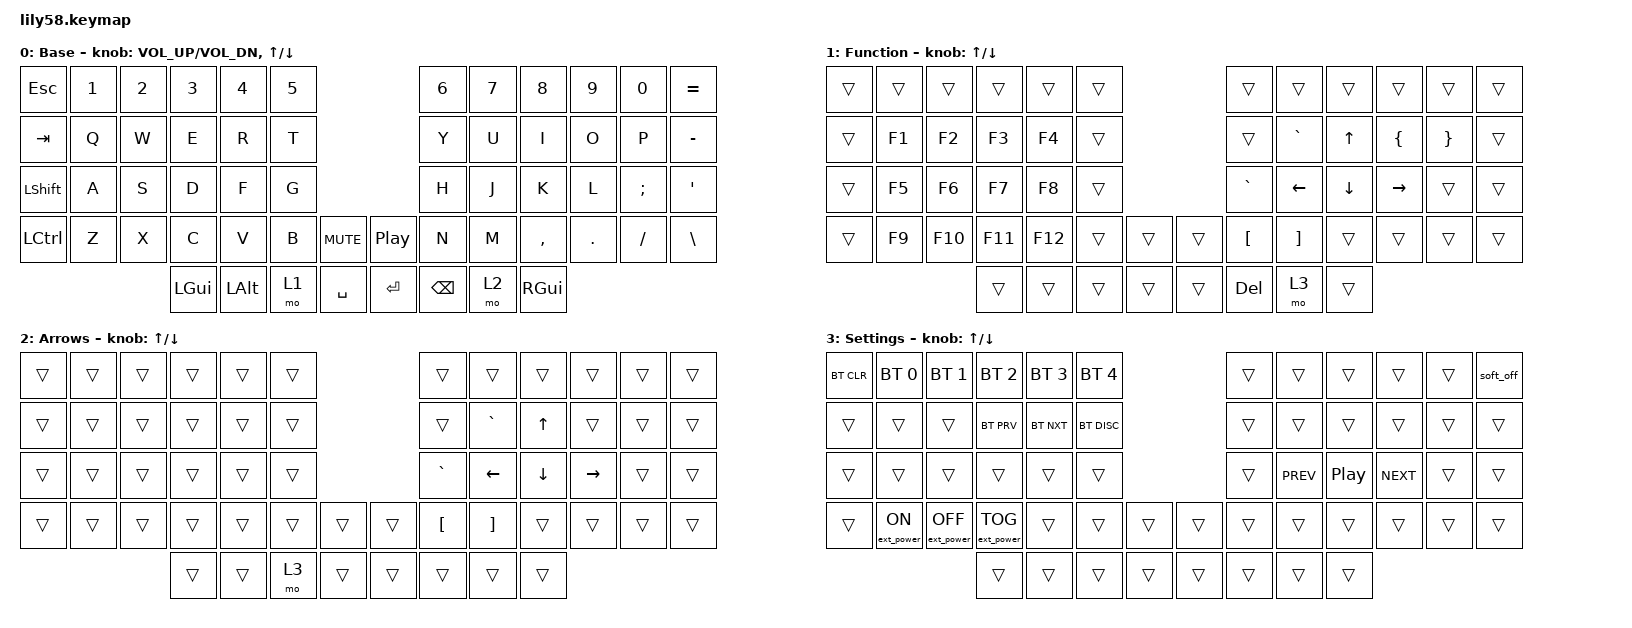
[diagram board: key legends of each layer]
/*
 * Copyright (c) 2020 The ZMK Contributors
 *
 * SPDX-License-Identifier: MIT
 *
 */

#include <behaviors.dtsi>
#include <dt-bindings/zmk/keys.h>
#include <dt-bindings/zmk/bt.h>
#include <dt-bindings/zmk/ext_power.h>

#define BASE   0
#define LOWER  1
#define RAISE  2
#define ADJUST 3

/ {
    keymap {
        compatible = "zmk,keymap";

        default_layer {
// ┌───────────────────────────────────────────────────────────┐
label= "BASE"                                                 ;
display-name = "Base"                                         ;
// └───────────────────────────────────────────────────────────┘
// ------------------------------------------------------------------------------------------------------------
// |  ESC  |  1  |  2  |  3   |  4   |  5   |                   |  6   |  7    |  8    |  9   |   0   |   `   |
// |  TAB  |  Q  |  W  |  E   |  R   |  T   |                   |  Y   |  U    |  I    |  O   |   P   |   -   |
// |  SHIFT|  A  |  S  |  D   |  F   |  G   |                   |  H   |  J    |  K    |  L   |   ;   |   '   |
// |  CTRL |  Z  |  X  |  C   |  V   |  B   |   "["  |  |  "]"  |  N   |  M    |  ,    |  .   |   /   | SHIFT |
//                     |  GUI |  ALT | LOWER|  SPACE |  | ENTER | BSPC | RAISE | GUI   |
            bindings = <
&kp ESC   &kp N1 &kp N2 &kp N3   &kp N4   &kp N5                     &kp N6   &kp N7   &kp N8    &kp N9  &kp N0   &kp EQUAL
&kp TAB   &kp Q  &kp W  &kp E    &kp R    &kp T                      &kp Y    &kp U    &kp I     &kp O   &kp P    &kp MINUS
&kp LSHFT &kp A  &kp S  &kp D    &kp F    &kp G                      &kp H    &kp J    &kp K     &kp L   &kp SEMI &kp SQT
&kp LCTRL &kp Z  &kp X  &kp C    &kp V    &kp B  &kp C_MUTE &kp C_PP &kp N    &kp M    &kp COMMA &kp DOT &kp FSLH &kp BSLH
                        &kp LGUI &kp LALT &mo 1  &kp SPACE  &kp RET  &kp BSPC &mo 2    &kp RGUI
            >;

            sensor-bindings = <&inc_dec_kp C_VOL_UP C_VOL_DN &inc_dec_kp UP DOWN>;
        };

        lower_layer {
// ┌───────────────────────────────────────────────────────────┐
label= "LOWER"                                                 ;
display-name = "Function"                                         ;
// └───────────────────────────────────────────────────────────┘
// ------------------------------------------------------------------------------------------------------------
// |       |     |     |      |      |      |                   |      |       |       |      |       |       |  
// |       |  F1 |  F2 |  F3  |  F4  |      |                   |      |  `~   |  UP   |      |       |       |  
// |       |  F5 |  F6 |  F7  |  F8  |  F9  |                   |  `~  |  LEFT |  DOWN |RIGHT |       |       |
// |       |  F9 | F10 |  F11 | F12  |      |        |  |       |   [  |   ]   |       |      |       |  "|"  |
//                     |      |      |      |        |  |       |      |       |       |
            bindings = <
&trans &trans &trans  &trans  &trans  &trans                       &trans    &trans    &trans      &trans    &trans    &trans
&trans &kp F1 &kp F2  &kp F3  &kp F4  &trans                       &trans    &kp GRAVE  &kp UP     &kp LBRC  &kp RBRC  &trans
&trans &kp F5 &kp F6  &kp F7  &kp F8  &trans                       &kp GRAVE &kp LEFT  &kp DOWN    &kp RIGHT &trans    &trans 
&trans &kp F9 &kp F10 &kp F11 &kp F12 &trans    &trans   &trans    &kp LBKT  &kp RBKT  &trans      &trans    &trans    &trans
                      &trans  &trans  &trans    &trans   &trans    &kp DEL   &mo 3     &trans
            >;

            sensor-bindings = <&inc_dec_kp UP DOWN>;
        };

        raise_layer {
// ┌───────────────────────────────────────────────────────────┐
label= "RAISE"                                                 ;
display-name = "Arrows"                                         ;
// └───────────────────────────────────────────────────────────┘
// ------------------------------------------------------------------------------------------------------------
// |       |     |     |      |      |      |                   |      |       |       |      |       |       |
// |       |     |     |      |      |      |                   |      |  `~   |   ^   |      |       |       |
// |       |     |     |      |      |      |                   |  `~  |   <-  |   v   |  ->  |       |       |
// |       |     |     |      |      |      |        |  |       |  [   |   ]   |       |      |       |       |
//                     |      |      |      |        |  |       |      |       |       |
            bindings = <
&trans     &trans &trans &trans &trans &trans                       &trans    &trans    &trans      &trans    &trans    &trans
&trans     &trans &trans &trans &trans &trans                       &trans    &kp GRAVE &kp UP      &trans    &trans    &trans
&trans     &trans &trans &trans &trans &trans                       &kp GRAVE &kp LEFT  &kp DOWN    &kp RIGHT &trans    &trans 
&trans     &trans &trans &trans &trans &trans    &trans   &trans    &kp LBKT  &kp RBKT  &trans      &trans    &trans    &trans
                         &trans &trans &mo 3     &trans   &trans    &trans    &trans  &trans
            >;

            sensor-bindings = <&inc_dec_kp UP DOWN>;
        };


        adjust_layer {
// ┌───────────────────────────────────────────────────────────┐
label= "ADJUST"                                                 ;
display-name= "Settings"                                         ;
// └───────────────────────────────────────────────────────────┘
// ------------------------------------------------------------------------------------------------------------
// | BTCLR | BT1 | BT2 |  BT3 |  BT4 |  BT5 |                   |      |       |       |      |       |       |
// |  F1   |  F2 |  F3 |  F4  | BTPRV| BTNXT|                   |  F7  |  F8   |  F9   |  F10 |  F11  |  F12  |
// |   `   |  !  |  @  |  #   |  $   |  %   |                   |  ^   |  &    |  *    |  (   |   )   |   ~   |
// |       |     |     |      |      |      |        |  |       |      |  _    |  +    |  {   |   }   |  "|"  |
//                     |      |      |      |        |  |       |      |       |       |
            bindings = <
&bt BT_CLR &bt BT_SEL 0     &bt BT_SEL 1      &bt BT_SEL 2      &bt BT_SEL 3 &bt BT_SEL 4                 &trans  &trans     &trans   &trans     &trans &soft_off
&trans    &trans            &trans            &bt BT_PRV        &bt BT_NXT   &bt BT_DISC                  &trans  &trans     &trans   &trans     &trans &trans
&trans    &trans            &trans            &trans            &trans       &trans                       &trans  &kp C_PREV &kp C_PP &kp C_NEXT &trans &trans
&trans     &ext_power EP_ON &ext_power EP_OFF &ext_power EP_TOG &trans       &trans    &trans   &trans    &trans  &trans     &trans   &trans     &trans &trans
                                              &trans            &trans       &trans    &trans   &trans    &trans  &trans     &trans
            >;

            sensor-bindings = <&inc_dec_kp UP DOWN>;
        };
    };
};
